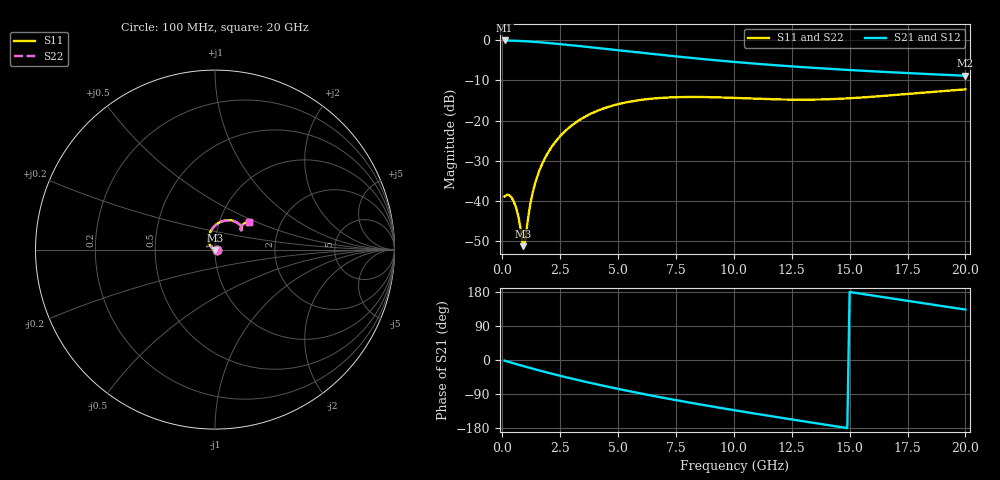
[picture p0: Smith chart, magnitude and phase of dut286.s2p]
! Touchstone file exported from HFSS 2024.1.0
!  File:  C:/UserFiles/LocalFiles/RDL_TSV_Batchsim/temp_RDL_TSV_286_1779465998.aedt
!  Generated:  12:21:15 AM May 23, 2026
!  Design:  RDL_TSV
!  Project:  temp_RDL_TSV_286_1779465998
!  Setup:  Setup1
!  Solution:  Sweep
! Variables:
!  dtsv = 7.84um
!  hbump = 3um
!  htsv = 65.86um
!  ldown = 413.72um
!  lrdl = 601.52um
!  p = 40
!  p1 = 43.63um
!  rhole = 10um
!  subl = 3647.24um
!  t = 450um
!  tdown = 4.88um
!  trdl = 4.8um
!  viad = 10um
!  wdown = 28.51um
!  wrdl = 26.85um
!  xbump = 18um
# GHz S MA R 50.000000
! Terminal data exported
! Port[1] = TM1_1_T1
! Port[2] = TM1_4_T1
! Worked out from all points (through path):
!   200 points, 100 MHz to 20 GHz, reference 50 ohm
!   highest |S21| = -0.10 dB at 100 MHz (marker M1); lowest = -8.9 dB at 20 GHz (marker M2)
!   group delay of S21, straight-line fit = 30.1 ps
!   lowest |S11| = -51.2 dB at 900 MHz (marker M3), VSWR 1.01, Z = 50 - j0.275 ohm
!   |S11| at or under -10 dB: start of sweep to end of sweep
!   |S22| runs from -51.1 to -12.3 dB; largest |S21 - S12| = 1.1e-14
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0.1  0.01141 2.5  0.9882 -1.9  0.9882 -1.9  0.01141 2.5
! Gamma 0 0 0 0
! Port Impedance 50 0 50 0
0.3  0.0118 -5.7  0.9846 -5.5  0.9846 -5.5  0.01181 -5.7
0.5  0.009791 -17.3  0.9805 -9.0  0.9805 -9.0  0.009817 -17.3
0.6  0.0082 -24.4  0.9782 -10.7  0.9782 -10.7  0.008238 -24.3
0.7  0.006333 -33.9  0.9755 -12.4  0.9755 -12.4  0.006383 -33.7
0.9  0.002748 -88.3  0.9692 -15.9  0.9692 -15.9  0.002781 -86.5
1  0.003293 -147.2  0.9656 -17.6  0.9656 -17.6  0.00323 -145.6
1.1  0.005742 -175.8  0.9618 -19.3  0.9618 -19.3  0.005626 -175.1
1.2  0.008841 171.3  0.9577 -21.0  0.9577 -21.0  0.008692 171.7
1.3  0.01227 163.5  0.9533 -22.7  0.9533 -22.7  0.01209 163.7
1.5  0.01978 153.1  0.9441 -26.0  0.9441 -26.0  0.01954 153.2
1.8  0.03221 142.1  0.9289 -30.9  0.9289 -30.9  0.03188 142.1
2.1  0.04555 133.2  0.9127 -35.6  0.9127 -35.6  0.04513 133.2
2.5  0.06399 122.9  0.89 -41.7  0.89 -41.7  0.06342 122.9
3.5  0.1085 101.6  0.8319 -56.2  0.8319 -56.2  0.1076 101.6
4.9  0.157 78.9  0.7529 -75.0  0.7529 -75.0  0.1558 78.8
6.8  0.1905 57.1  0.6571 -98.0  0.6571 -98.0  0.1889 57.0
8.4  0.1962 45.2  0.5899 -115.8  0.5899 -115.8  0.1946 45.1
10.1  0.1907 38.2  0.5321 -133.4  0.5321 -133.4  0.1891 38.1
13.4  0.1819 37.8  0.4522 -165.5  0.4522 -165.5  0.1804 37.7
16.7  0.205 41.9  0.399 163.6  0.399 163.6  0.2035 41.9
20  0.244 39.6  0.3602 133.1  0.3602 133.1  0.2424 39.4
